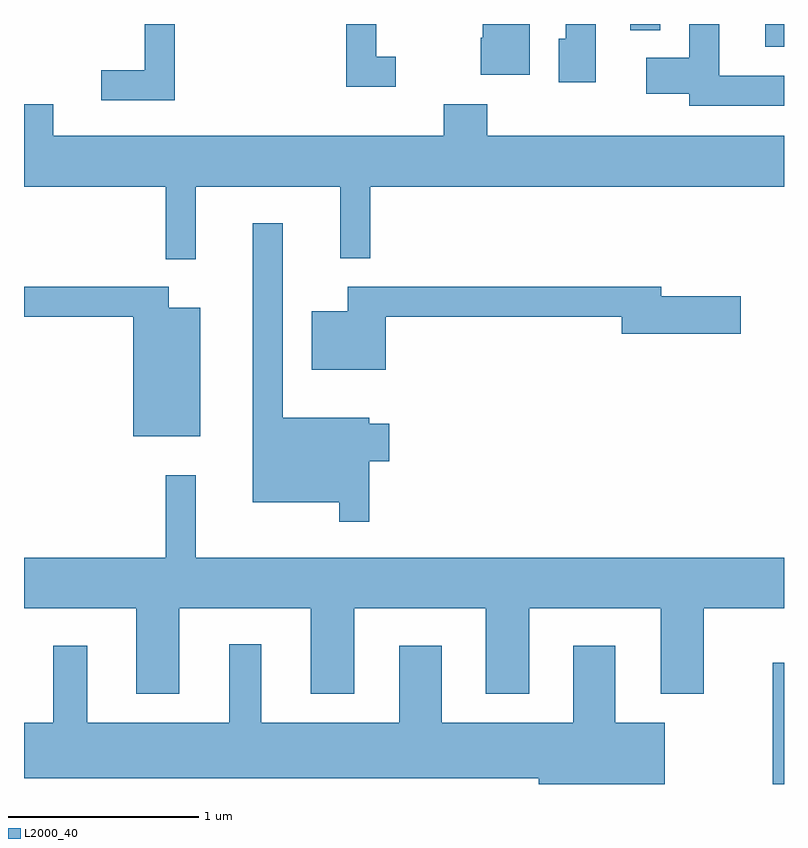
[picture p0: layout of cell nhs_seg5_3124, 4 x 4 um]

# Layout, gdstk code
import gdstk
lib = gdstk.Library(unit=1e-6, precision=1e-09)
def R(c, l, rs):  # rectangles x0, y0, x1, y1
    for r in rs: c.add(gdstk.rectangle(r[:2], r[2:], *l))
def P(c, l, *ps):  # polygons
    for p in ps: c.add(gdstk.Polygon(p, *l))
L2000_40 = (2000, 40)

nhs_seg5_3124 = lib.new_cell('nhs_seg5_3124')
R(nhs_seg5_3124, L2000_40, [(281.551,1478.072,281.611,1478.709), (281.513,1481.951,281.611,1482.072), (280.801,1482.038,280.959,1482.072)])
P(nhs_seg5_3124, L2000_40, [(279.568,1481.899),(279.464,1481.899),(279.464,1482.072),(279.306,1482.072),(279.306,1481.741),(279.568,1481.741)],
  [(280.274,1482.072),(280.026,1482.072),(280.026,1482),(280.016,1482),(280.016,1481.806),(280.274,1481.806)],
  [(278.404,1482.072),(278.246,1482.072),(278.246,1481.829),(278.018,1481.829),(278.018,1481.671),(278.404,1481.671)],
  [(280.619,1482.072),(280.461,1482.072),(280.461,1481.994),(280.426,1481.994),(280.426,1481.766),(280.619,1481.766)],
  [(281.611,1481.799),(281.269,1481.799),(281.269,1482.072),(281.111,1482.072),(281.111,1481.894),(280.886,1481.894),(280.886,1481.706),(281.111,1481.706),(281.111,1481.641),(281.611,1481.641)],
  [(278.514,1481.216),(279.276,1481.216),(279.276,1480.838),(279.434,1480.838),(279.434,1481.216),(281.611,1481.216),(281.611,1481.484),(280.049,1481.484),(280.049,1481.649),(279.821,1481.649),(279.821,1481.484),(277.764,1481.484),(277.764,1481.649),(277.611,1481.649),(277.611,1481.216),(278.356,1481.216),(278.356,1480.833),(278.514,1480.833)],
  [(279.429,1479.771),(279.534,1479.771),(279.534,1479.969),(279.429,1479.969),(279.429,1479.999),(278.974,1479.999),(278.974,1481.023),(278.816,1481.023),(278.816,1479.556),(279.271,1479.556),(279.271,1479.453),(279.429,1479.453)],
  [(279.514,1480.531),(280.756,1480.531),(280.756,1480.441),(281.384,1480.441),(281.384,1480.639),(280.964,1480.639),(280.964,1480.689),(279.316,1480.689),(279.316,1480.559),(279.126,1480.559),(279.126,1480.251),(279.514,1480.251)],
  [(278.539,1480.579),(278.374,1480.579),(278.374,1480.689),(277.611,1480.689),(277.611,1480.531),(278.186,1480.531),(278.186,1479.901),(278.539,1479.901)],
  [(278.429,1478.996),(279.121,1478.996),(279.121,1478.546),(279.349,1478.546),(279.349,1478.996),(280.041,1478.996),(280.041,1478.546),(280.269,1478.546),(280.269,1478.996),(280.961,1478.996),(280.961,1478.546),(281.189,1478.546),(281.189,1478.996),(281.611,1478.996),(281.611,1479.264),(278.514,1479.264),(278.514,1479.698),(278.356,1479.698),(278.356,1479.264),(277.611,1479.264),(277.611,1478.996),(278.201,1478.996),(278.201,1478.546),(278.429,1478.546)],
  [(280.984,1478.394),(280.724,1478.394),(280.724,1478.799),(280.501,1478.799),(280.501,1478.394),(279.809,1478.394),(279.809,1478.799),(279.586,1478.799),(279.586,1478.394),(278.859,1478.394),(278.859,1478.808),(278.691,1478.808),(278.691,1478.394),(277.944,1478.394),(277.944,1478.799),(277.766,1478.799),(277.766,1478.394),(277.611,1478.394),(277.611,1478.101),(280.321,1478.101),(280.321,1478.072),(280.984,1478.072)])

lib.write_gds('nhs_seg5_3124.gds')
